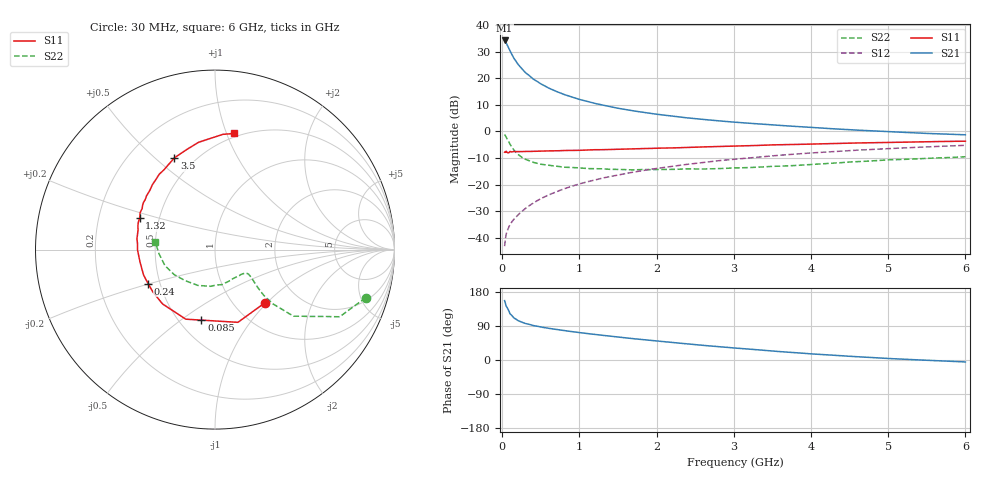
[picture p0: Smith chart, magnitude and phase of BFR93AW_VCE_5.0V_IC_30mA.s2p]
! Infineon Technologies  Discrete & RF Semiconductors
! BFR93AW
! VCE =  5.0 V,  IC =  30 mA
! Common Emitter S-Parameters:  Nov 2015
# GHz  S  MA  R  50
!  f  S11  S21  S12  S22
! GHz  MAG  ANG  MAG  ANG  MAG  ANG  MAG  ANG
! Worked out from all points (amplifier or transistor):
!   206 points, 30 MHz to 6 GHz, reference 50 ohm
!   highest |S21| = 34.2 dB at 30 MHz (marker M1)
!   |S21| within 3 dB of that: start of sweep to 83.91 MHz
!   unconditionally stable (mu >= 1): 467.6 MHz to 2.154 GHz
!   at 200 MHz: K = 0.81, MSG = 28.4 dB, |S12| = -31.4 dB
!   at 1.56 GHz: K = 1.04, MAG = 11.1 dB, |S12| = -16.0 dB
!   at 6 GHz: K = 0.90, MSG = 2.0 dB, |S12| = -5.2 dB
!   S11 on the Smith chart (normalised r, x): 30 MHz: 1.38, -0.97; 85 MHz: 0.64, -0.60; 240 MHz: 0.43, -0.20; 1.32 GHz: 0.39, +0.17; 3.5 GHz: 0.39, +0.58; 6 GHz: 0.47, +1.06
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0.03  0.4068 -46.5  51.16 156.7  0.007 76.0  0.8816 -17.7
0.05  0.4249 -72.5  46.15 142.2  0.0118 68.1  0.7892 -28.3
0.085  0.4001 -100.9  35.93 129.5  0.016 63.4  0.635 -35.9
0.1  0.4205 -112.8  32.33 121.8  0.0178 62.1  0.5735 -40.3
0.15  0.4207 -134.0  23.68 111.0  0.0224 62.4  0.4447 -43.1
0.2  0.419 -145.8  18.52 104.4  0.0268 64.7  0.3735 -43.2
0.24  0.4179 -153.0  15.76 100.9  0.0302 65.9  0.3361 -42.2
0.26  0.4191 -156.0  14.61 99.2  0.032 66.5  0.3214 -41.7
0.3  0.4224 -160.6  12.72 96.3  0.0358 67.6  0.2999 -40.7
0.4  0.4231 -169.4  9.663 91.0  0.045 70.7  0.2633 -37.9
0.5  0.4269 -175.4  7.812 86.9  0.0547 72.0  0.242 -36.8
0.6  0.4317 -179.9  6.536 83.6  0.0641 72.7  0.2312 -36.1
0.7  0.4324 175.9  5.643 80.4  0.0734 72.9  0.223 -36.6
0.9  0.4397 169.0  4.42 74.9  0.0933 72.9  0.2106 -38.7
1.04  0.4447 164.7  3.855 71.4  0.1073 72.2  0.2043 -41.4
1.32  0.455 157.5  3.078 64.7  0.1351 71.0  0.1978 -47.2
2.02  0.4854 141.5  2.087 49.6  0.204 65.8  0.1932 -68.2
3.1  0.5333 120.7  1.46 30.3  0.3096 56.0  0.2074 -101.1
3.5  0.559 113.9  1.327 23.4  0.3491 52.1  0.221 -115.4
4.1  0.5834 104.4  1.165 15.0  0.4025 45.6  0.2439 -137.0
5.1  0.6247 91.0  0.977 3.1  0.4836 34.7  0.2952 -164.9
6  0.6559 80.6  0.865 -5.1  0.5486 25.4  0.3347 173.1
